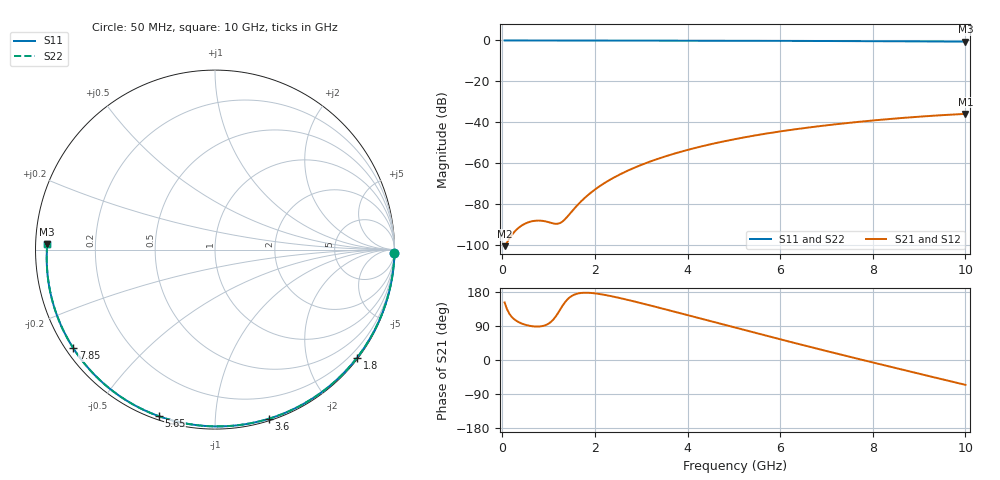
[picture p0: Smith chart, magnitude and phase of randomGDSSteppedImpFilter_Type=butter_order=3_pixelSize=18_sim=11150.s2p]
! freq	dB(S11)	phase(S11)	dB(S12)	phase(S12)
!  dB(S21)	phase(S21)	dB(S22)	phase(S22)
!S-par simulation data
#  GHz  S  DB  R 50
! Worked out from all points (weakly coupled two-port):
!   200 points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, 50 MHz to 10 GHz, reference 50 ohm
!   highest |S21| = -35.91 dB at 10 GHz (marker M1); lowest = -100.6 dB at 50 MHz (marker M2)
!   lowest |S11| = -0.6 dB at 10 GHz (marker M3), VSWR 29.77, Z = 1.68 + j0.772 ohm
!   |S11| at or under -10 dB: nowhere
!   |S22| runs from -0.6 to 0.0 dB; largest |S21 - S12| = 0
!   S11 on the Smith chart (normalised r, x): 50 MHz: open; 1.8 GHz: 0.03, -2.96; 3.6 GHz: 0.02, -1.37; 5.65 GHz: 0.02, -0.72; 7.85 GHz: 0.02, -0.31; 10 GHz: 0.03, +0.02
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0.05  -0.00 -1.1  -100.60 151.9  -100.60 151.9  -0.00 -1.1
0.4  -0.01 -8.5  -90.80 97.2  -90.80 97.2  -0.01 -8.5
0.8  -0.02 -16.8  -88.09 88.5  -88.09 88.5  -0.02 -16.8
1.6  -0.04 -33.3  -81.07 174.4  -81.07 174.4  -0.04 -33.3
1.65  -0.04 -34.3  -79.87 175.9  -79.87 175.9  -0.04 -34.3
1.75  -0.05 -36.3  -77.63 177.4  -77.63 177.4  -0.05 -36.3
1.8  -0.05 -37.3  -76.59 177.5  -76.59 177.5  -0.05 -37.3
2.1  -0.06 -43.3  -71.32 174.2  -71.32 174.2  -0.06 -43.3
2.45  -0.06 -50.3  -66.56 165.9  -66.56 165.9  -0.06 -50.3
2.9  -0.08 -59.0  -61.78 153.0  -61.78 153.0  -0.08 -59.0
3.4  -0.09 -68.5  -57.58 137.5  -57.58 137.5  -0.09 -68.5
3.6  -0.10 -72.3  -56.13 131.2  -56.13 131.2  -0.10 -72.3
4.3  -0.12 -85.1  -51.81 108.8  -51.81 108.8  -0.12 -85.1
5.05  -0.15 -98.4  -48.14 84.8  -48.14 84.8  -0.15 -98.4
5.65  -0.18 -108.7  -45.73 65.7  -45.73 65.7  -0.18 -108.7
6.15  -0.21 -117.1  -43.99 50.0  -43.99 50.0  -0.21 -117.1
6.7  -0.25 -126.3  -42.32 32.9  -42.32 32.9  -0.25 -126.3
7.3  -0.29 -136.2  -40.74 14.6  -40.74 14.6  -0.29 -136.2
7.85  -0.34 -145.2  -39.46 -2.0  -39.46 -2.0  -0.34 -145.2
8.35  -0.39 -153.5  -38.43 -16.9  -38.43 -16.9  -0.39 -153.5
9.2  -0.48 -167.8  -36.96 -42.1  -36.96 -42.1  -0.48 -167.8
10  -0.58 178.2  -35.91 -65.6  -35.91 -65.6  -0.58 178.2
